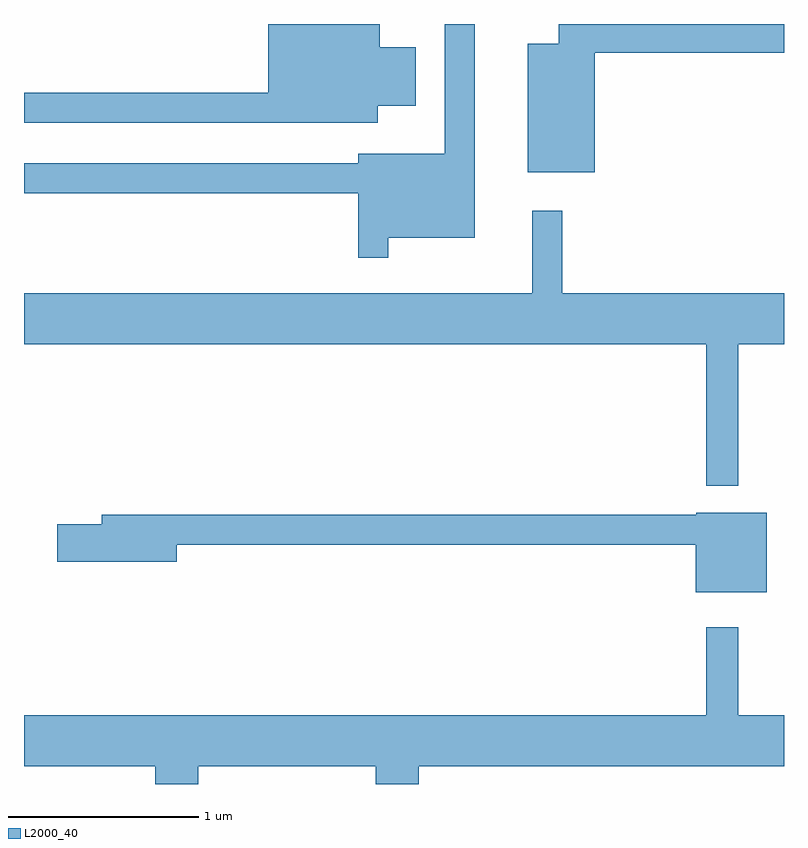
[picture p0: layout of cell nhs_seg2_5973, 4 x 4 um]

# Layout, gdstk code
import gdstk
lib = gdstk.Library(unit=1e-6, precision=1e-09)
def P(c, l, *ps):  # polygons
    for p in ps: c.add(gdstk.Polygon(p, *l))
L2000_40 = (2000, 40)

nhs_seg2_5973 = lib.new_cell('nhs_seg2_5973')
P(nhs_seg2_5973, L2000_40, [(363.474,1027.371),(363.674,1027.371),(363.674,1027.679),(363.484,1027.679),(363.484,1027.802),(362.896,1027.802),(362.896,1027.439),(361.611,1027.439),(361.611,1027.281),(363.474,1027.281)],
  [(364.614,1027.651),(365.611,1027.651),(365.611,1027.802),(364.426,1027.802),(364.426,1027.699),(364.261,1027.699),(364.261,1027.021),(364.614,1027.021)],
  [(363.529,1026.676),(363.984,1026.676),(363.984,1027.802),(363.826,1027.802),(363.826,1027.119),(363.371,1027.119),(363.371,1027.069),(361.611,1027.069),(361.611,1026.911),(363.371,1026.911),(363.371,1026.573),(363.529,1026.573)],
  [(365.369,1026.116),(365.611,1026.116),(365.611,1026.384),(364.444,1026.384),(364.444,1026.818),(364.286,1026.818),(364.286,1026.384),(361.611,1026.384),(361.611,1026.116),(365.201,1026.116),(365.201,1025.373),(365.369,1025.373)],
  [(365.519,1025.229),(365.15,1025.229),(365.15,1025.219),(362.021,1025.219),(362.021,1025.169),(361.786,1025.169),(361.786,1024.971),(362.414,1024.971),(362.414,1025.061),(365.146,1025.061),(365.146,1024.811),(365.519,1024.811)],
  [(362.529,1023.896),(363.461,1023.896),(363.461,1023.802),(363.689,1023.802),(363.689,1023.896),(365.611,1023.896),(365.611,1024.164),(365.369,1024.164),(365.369,1024.628),(365.201,1024.628),(365.201,1024.164),(361.611,1024.164),(361.611,1023.896),(362.301,1023.896),(362.301,1023.802),(362.529,1023.802)])

lib.write_gds('nhs_seg2_5973.gds')
